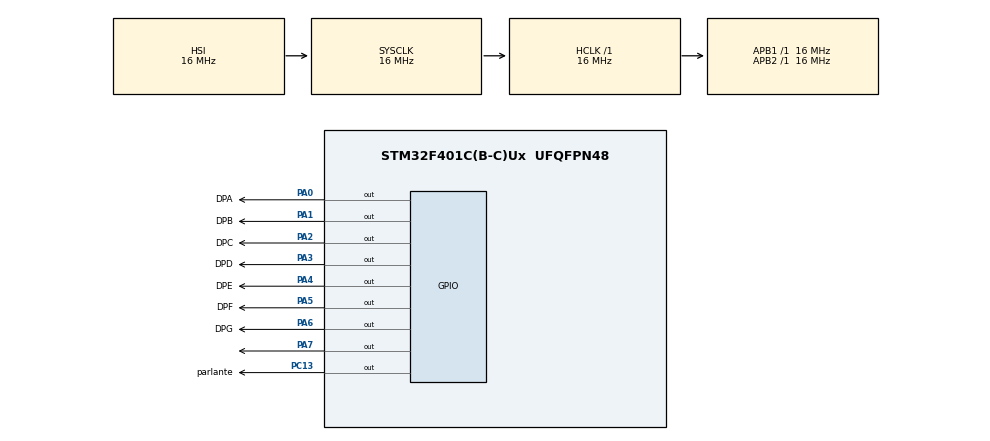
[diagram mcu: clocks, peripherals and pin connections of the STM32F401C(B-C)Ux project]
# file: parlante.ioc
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Mcu.Family=STM32F4
Mcu.Name=STM32F401C(B-C)Ux
Mcu.Package=UFQFPN48
NVIC.PriorityGroup=NVIC_PRIORITYGROUP_4
PA0-WKUP.GPIO_Label=DPA
PA0-WKUP.Signal=GPIO_Output
PA1.GPIO_Label=DPB
PA1.Signal=GPIO_Output
PA2.GPIO_Label=DPC
PA2.Signal=GPIO_Output
PA3.GPIO_Label=DPD
PA3.Signal=GPIO_Output
PA4.GPIO_Label=DPE
PA4.Signal=GPIO_Output
PA5.GPIO_Label=DPF
PA5.Signal=GPIO_Output
PA6.GPIO_Label=DPG
PA6.Signal=GPIO_Output
PA7.Signal=GPIO_Output
PC13-ANTI_TAMP.GPIO_Label=parlante
PC13-ANTI_TAMP.Signal=GPIO_Output
PH0\ -\ OSC_IN.Signal=RCC_OSC_IN
PH1\ -\ OSC_OUT.Signal=RCC_OSC_OUT
ProjectManager.HeapSize=0x200
ProjectManager.StackSize=0x400
ProjectManager.TargetToolchain=CMake
RCC.AHBFreq_Value=16000000
RCC.APB1Freq_Value=16000000
RCC.APB2Freq_Value=16000000
RCC.CortexFreq_Value=16000000
RCC.HSE_VALUE=25000000
RCC.HSI_VALUE=16000000
RCC.LSE_VALUE=32768
RCC.SYSCLKFreq_VALUE=16000000
RCC.VCOOutputFreq_Value=192000000
board=custom

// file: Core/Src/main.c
/* USER CODE BEGIN Header */
/**
  ******************************************************************************
  * @file           : main.c
  * @brief          : Main program body
  ******************************************************************************
  */
/* USER CODE END Header */

#include "main.h"

/* USER CODE BEGIN PV */
uint32_t pasos = 0;
/* USER CODE END PV */

void SystemClock_Config(void);
static void MX_GPIO_Init(void);

/* USER CODE BEGIN 0 */

/*==============================================================*/
/* INICIALIZAR RETARDO EN MICROSEGUNDOS USANDO DWT               */
/*==============================================================*/
void delay_us_dwt_init(void)
{
    /* Habilitar el sistema de depuracion */
    CoreDebug->DEMCR |= CoreDebug_DEMCR_TRCENA_Msk;

    /* Reiniciar contador */
    DWT->CYCCNT = 0;

    /* Habilitar contador de ciclos */
    DWT->CTRL |= DWT_CTRL_CYCCNTENA_Msk;

    /* Calcular cuantos ciclos hay en 1 microsegundo */
    pasos = HAL_RCC_GetSysClockFreq() / 1000000;

    /* Seguridad */
    if (pasos == 0)
    {
        pasos = 1;
    }
}

/*==============================================================*/
/* RETARDO EN MICROSEGUNDOS                                      */
/*==============================================================*/
void delay_us_dwt(uint32_t reta)
{
    uint32_t inicio = DWT->CYCCNT;
    uint32_t ciclos = pasos * reta;

    while ((DWT->CYCCNT - inicio) < ciclos)
    {
        /* Esperar */
    }
}

/*==============================================================*/
/* GENERAR UNA NOTA MUSICAL                                      */
/* frec = frecuencia en Hz                                       */
/* dura = duracion en milisegundos                               */
/*==============================================================*/
void Sound_play(uint32_t frec, uint32_t dura)
{
    uint32_t dela;
    uint32_t repe;

    /* Evitar division entre cero */
    if (frec == 0)
    {
        HAL_Delay(dura);
        return;
    }

    /* Media onda en microsegundos */
    dela = 500000 / frec;

    /* Cantidad de ciclos completos */
    repe = (frec * dura) / 1000;

    while (repe--)
    {
        /* Nivel alto */
        HAL_GPIO_WritePin(parlante_GPIO_Port,
                          parlante_Pin,
                          GPIO_PIN_SET);

        delay_us_dwt(dela);

        /* Nivel bajo */
        HAL_GPIO_WritePin(parlante_GPIO_Port,
                          parlante_Pin,
                          GPIO_PIN_RESET);

        delay_us_dwt(dela);
    }

    /* Asegurar que termine apagado */
    HAL_GPIO_WritePin(parlante_GPIO_Port,
                      parlante_Pin,
                      GPIO_PIN_RESET);
}

/*==============================================================*/
/* MELODIA MARIO BROS - INICIO                                   */
/*==============================================================*/
void melodia1(void)
{
    /* E5 */
    Sound_play(659, 150);
    HAL_Delay(40);

    /* E5 */
    Sound_play(659, 150);
    HAL_Delay(40);

    /* E5 */
    Sound_play(659, 150);
    HAL_Delay(100);

    /* C5 */
    Sound_play(523, 150);
    HAL_Delay(40);

    /* E5 */
    Sound_play(659, 150);
    HAL_Delay(40);

    /* G5 */
    Sound_play(784, 350);
    HAL_Delay(150);

    /* G4 */
    Sound_play(392, 350);
    HAL_Delay(200);
}

/*==============================================================*/
/* FUNCION CHAO                                                  */
/*==============================================================*/
void chao(void)
{
    GPIOA->ODR = 0b00111001;
    HAL_Delay(1000);

    GPIOA->ODR = 0b01110110;
    HAL_Delay(1000);

    GPIOA->ODR = 0b01110111;
    HAL_Delay(1000);

    GPIOA->ODR = 0b00111111;
    HAL_Delay(1000);
}

/*==============================================================*/
/* FUNCION HOLA                                                  */
/*==============================================================*/
void hola(uint16_t retardo)
{
    GPIOA->ODR = 0b01110110;
    HAL_Delay(retardo);

    GPIOA->ODR = 0b00111111;
    HAL_Delay(retardo);

    GPIOA->ODR = 0b00111000;
    HAL_Delay(retardo);

    GPIOA->ODR = 0b01110111;
    HAL_Delay(retardo);
}

/* USER CODE END 0 */

int main(void)
{
    /* Reset of all peripherals, Initializes the Flash interface and the Systick */
    HAL_Init();

    /* Configure the system clock */
    SystemClock_Config();

    /* Initialize all configured peripherals */
    MX_GPIO_Init();

    /* USER CODE BEGIN 2 */

    /* IMPORTANTE:
       Inicializar el contador DWT antes de reproducir sonido */
    delay_us_dwt_init();

    /* USER CODE END 2 */

    /* Infinite loop */
    while (1)
    {
        melodia1();

        /* Pausa antes de repetir la melodia */
        HAL_Delay(500);
    }
}

void SystemClock_Config(void)
{
    RCC_OscInitTypeDef RCC_OscInitStruct = {0};
    RCC_ClkInitTypeDef RCC_ClkInitStruct = {0};

    /* Configure the main internal regulator output voltage */
    __HAL_RCC_PWR_CLK_ENABLE();

    __HAL_PWR_VOLTAGESCALING_CONFIG(PWR_REGULATOR_VOLTAGE_SCALE2);

    /* Initializes the RCC Oscillators */
    RCC_OscInitStruct.OscillatorType = RCC_OSCILLATORTYPE_HSI;

    RCC_OscInitStruct.HSIState = RCC_HSI_ON;

    RCC_OscInitStruct.HSICalibrationValue = RCC_HSICALIBRATION_DEFAULT;

    RCC_OscInitStruct.PLL.PLLState = RCC_PLL_NONE;

    if (HAL_RCC_OscConfig(&RCC_OscInitStruct) != HAL_OK)
    {
        Error_Handler();
    }

    /* Initializes the CPU, AHB and APB buses clocks */
    RCC_ClkInitStruct.ClockType =
                    RCC_CLOCKTYPE_HCLK |
                    RCC_CLOCKTYPE_SYSCLK |
                    RCC_CLOCKTYPE_PCLK1 |
                    RCC_CLOCKTYPE_PCLK2;

    RCC_ClkInitStruct.SYSCLKSource = RCC_SYSCLKSOURCE_HSI;

    RCC_ClkInitStruct.AHBCLKDivider = RCC_SYSCLK_DIV1;

    RCC_ClkInitStruct.APB1CLKDivider = RCC_HCLK_DIV1;

    RCC_ClkInitStruct.APB2CLKDivider = RCC_HCLK_DIV1;

    if (HAL_RCC_ClockConfig(&RCC_ClkInitStruct,
                            FLASH_LATENCY_0) != HAL_OK)
    {
        Error_Handler();
    }
}

static void MX_GPIO_Init(void)
{
    GPIO_InitTypeDef GPIO_InitStruct = {0};

    /* GPIO Ports Clock Enable */
    __HAL_RCC_GPIOC_CLK_ENABLE();

    __HAL_RCC_GPIOH_CLK_ENABLE();

    __HAL_RCC_GPIOA_CLK_ENABLE();

    /* Apagar parlante inicialmente */
    HAL_GPIO_WritePin(parlante_GPIO_Port,
                      parlante_Pin,
                      GPIO_PIN_RESET);

    /* Apagar pines del display inicialmente */
    HAL_GPIO_WritePin(GPIOA,
                      DPA_Pin |
                      DPB_Pin |
                      DPC_Pin |
                      DPD_Pin |
                      DPE_Pin |
                      DPF_Pin |
                      DPG_Pin |
                      GPIO_PIN_7,
                      GPIO_PIN_RESET);

    /* Configurar pin del parlante */
    GPIO_InitStruct.Pin = parlante_Pin;

    GPIO_InitStruct.Mode = GPIO_MODE_OUTPUT_PP;

    GPIO_InitStruct.Pull = GPIO_NOPULL;

    GPIO_InitStruct.Speed = GPIO_SPEED_FREQ_HIGH;

    HAL_GPIO_Init(parlante_GPIO_Port, &GPIO_InitStruct);

    /* Configurar pines del display */
    GPIO_InitStruct.Pin =
                    DPA_Pin |
                    DPB_Pin |
                    DPC_Pin |
                    DPD_Pin |
                    DPE_Pin |
                    DPF_Pin |
                    DPG_Pin |
                    GPIO_PIN_7;

    GPIO_InitStruct.Mode = GPIO_MODE_OUTPUT_PP;

    GPIO_InitStruct.Pull = GPIO_NOPULL;

    GPIO_InitStruct.Speed = GPIO_SPEED_FREQ_HIGH;

    HAL_GPIO_Init(GPIOA, &GPIO_InitStruct);
}

void Error_Handler(void)
{
    __disable_irq();

    while (1)
    {
    }
}
